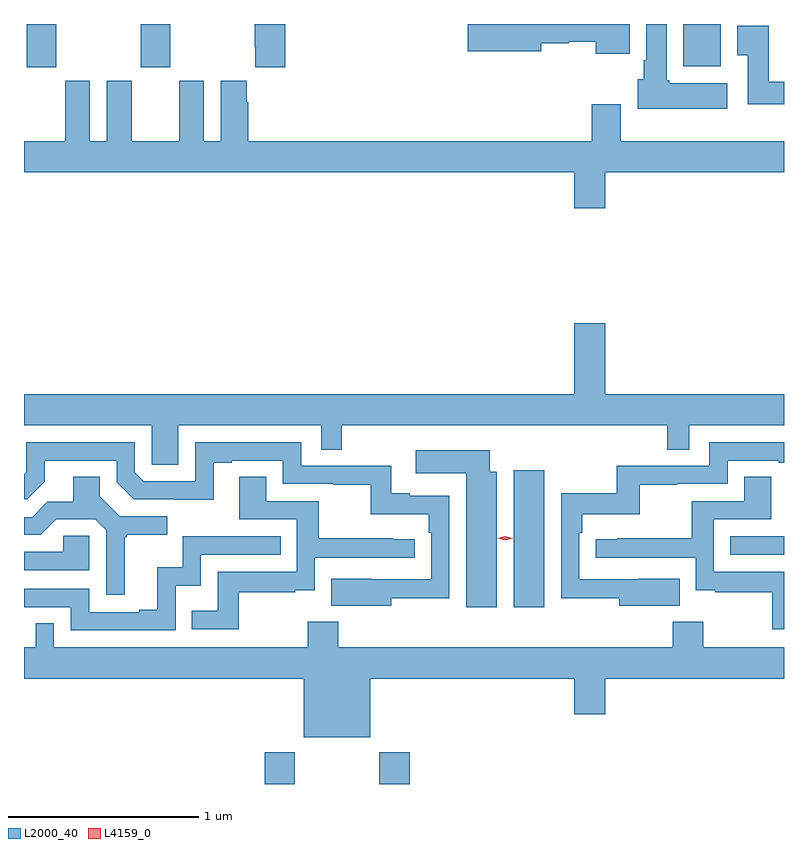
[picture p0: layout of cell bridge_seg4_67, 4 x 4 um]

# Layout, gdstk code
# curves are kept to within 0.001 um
import gdstk
lib = gdstk.Library(unit=1e-6, precision=1e-09)
def R(c, l, rs):  # rectangles x0, y0, x1, y1
    for r in rs: c.add(gdstk.rectangle(r[:2], r[2:], *l))
def P(c, l, *ps):  # polygons
    for p in ps: c.add(gdstk.Polygon(p, *l))
L2000_40 = (2000, 40)
L4159_0 = (4159, 0)

bridge_seg4_67 = lib.new_cell('bridge_seg4_67')
R(bridge_seg4_67, L2000_40, [(834.707,781.613,834.867,781.78), (835.312,781.613,835.472,781.78), (836.018,782.544,836.179,783.265), (837.157,782.82,837.441,782.916), (833.455,785.385,833.61,785.613), (834.055,785.385,834.21,785.613), (836.912,785.39,837.109,785.613)])
P(bridge_seg4_67, L2000_40, [(836.629,785.613),(835.925,785.613),(835.925,785.612),(835.776,785.612),(835.776,785.47),(836.164,785.47),(836.164,785.512),(836.307,785.512),(836.307,785.52),(836.45,785.52),(836.45,785.456),(836.629,785.456)],
  [(834.815,785.613),(834.655,785.613),(834.655,785.497),(834.659,785.497),(834.659,785.385),(834.815,785.385)],
  [(837.142,785.302),(836.838,785.302),(836.838,785.316),(836.824,785.316),(836.824,785.613),(836.717,785.613),(836.717,785.422),(836.702,785.422),(836.702,785.322),(836.672,785.322),(836.672,785.168),(837.142,785.168)],
  [(837.441,785.308),(837.361,785.308),(837.361,785.605),(837.194,785.605),(837.194,785.449),(837.251,785.449),(837.251,785.19),(837.441,785.19)],
  [(836.5,784.832),(837.441,784.832),(837.441,784.996),(836.581,784.996),(836.581,785.191),(836.429,785.191),(836.429,784.996),(834.62,784.996),(834.62,785.201),(834.613,785.201),(834.613,785.314),(834.476,785.314),(834.476,784.996),(834.388,784.996),(834.388,785.314),(834.257,785.314),(834.257,784.996),(834.007,784.996),(834.007,785.314),(833.876,785.314),(833.876,784.996),(833.788,784.996),(833.788,785.314),(833.657,785.314),(833.657,784.996),(833.441,784.996),(833.441,784.832),(836.336,784.832),(836.336,784.644),(836.5,784.644)],
  [(834.253,783.5),(835.005,783.5),(835.005,783.373),(835.114,783.373),(835.114,783.5),(836.827,783.5),(836.827,783.373),(836.943,783.373),(836.943,783.5),(837.441,783.5),(837.441,783.664),(836.5,783.664),(836.5,784.039),(836.336,784.039),(836.336,783.664),(833.441,783.664),(833.441,783.5),(834.114,783.5),(834.114,783.292),(834.253,783.292)],
  [(835.375,782.59),(835.68,782.59),(835.68,783.129),(835.471,783.129),(835.471,783.142),(835.374,783.142),(835.374,783.288),(834.9,783.288),(834.9,783.411),(834.342,783.411),(834.342,783.207),(834.072,783.207),(834.024,783.255),(834.024,783.411),(833.454,783.411),(833.454,783.255),(833.441,783.242),(833.441,783.111),(833.457,783.111),(833.551,783.205),(833.551,783.315),(833.928,783.315),(833.928,783.201),(834.018,783.111),(834.439,783.11),(834.439,783.303),(834.535,783.303),(834.535,783.315),(834.804,783.315),(834.804,783.192),(835.069,783.192),(835.069,783.187),(835.266,783.187),(835.266,783.032),(835.571,783.032),(835.571,782.936),(835.584,782.936),(835.584,782.691),(835.057,782.692),(835.057,782.552),(835.375,782.552)],
  [(836.891,782.692),(836.677,782.692),(836.677,782.691),(836.364,782.691),(836.364,782.936),(836.378,782.936),(836.378,783.032),(836.683,783.032),(836.683,783.187),(836.879,783.187),(836.879,783.192),(837.144,783.192),(837.144,783.315),(837.413,783.315),(837.413,783.303),(837.441,783.303),(837.441,783.411),(837.048,783.411),(837.048,783.288),(836.562,783.288),(836.562,783.142),(836.268,783.142),(836.268,782.59),(836.573,782.59),(836.573,782.552),(836.891,782.552)],
  [(835.93,783.256),(835.891,783.256),(835.891,783.37),(835.503,783.37),(835.503,783.248),(835.769,783.248),(835.769,782.544),(835.93,782.544)],
  [(833.971,782.913),(833.983,782.913),(833.983,782.924),(834.196,782.924),(834.196,783.021),(833.946,783.021),(833.839,783.128),(833.839,783.23),(833.699,783.23),(833.699,783.098),(833.564,783.098),(833.484,783.018),(833.441,783.018),(833.441,782.925),(833.53,782.925),(833.611,783.006),(833.817,783.006),(833.874,782.949),(833.874,782.61),(833.971,782.61)],
  [(834.571,782.622),(834.869,782.622),(834.869,782.633),(834.972,782.633),(834.972,782.805),(835.498,782.805),(835.498,782.901),(835.385,782.901),(835.385,782.906),(834.992,782.906),(834.992,783.102),(834.715,783.102),(834.715,783.23),(834.575,783.23),(834.575,783.006),(834.876,783.006),(834.876,782.73),(834.46,782.73),(834.46,782.524),(834.325,782.524),(834.325,782.427),(834.571,782.427)],
  [(837.441,782.73),(837.072,782.73),(837.072,783.006),(837.373,783.006),(837.373,783.23),(837.233,783.23),(837.233,783.102),(836.956,783.102),(836.956,782.906),(836.563,782.906),(836.563,782.901),(836.451,782.901),(836.451,782.805),(836.976,782.805),(836.976,782.633),(837.079,782.633),(837.079,782.622),(837.378,782.622),(837.378,782.427),(837.441,782.427)],
  [(833.784,782.919),(833.647,782.919),(833.647,782.835),(833.441,782.835),(833.441,782.739),(833.784,782.739)],
  [(834.24,782.657),(834.372,782.657),(834.372,782.82),(834.791,782.82),(834.791,782.916),(834.276,782.916),(834.276,782.755),(834.143,782.755),(834.143,782.53),(834.047,782.53),(834.047,782.517),(833.784,782.517),(833.784,782.64),(833.441,782.64),(833.441,782.544),(833.688,782.544),(833.688,782.421),(834.24,782.421)],
  [(835.264,782.168),(836.336,782.168),(836.336,781.98),(836.5,781.98),(836.5,782.168),(837.441,782.168),(837.441,782.332),(837.015,782.332),(837.015,782.467),(836.855,782.467),(836.855,782.332),(835.094,782.332),(835.094,782.467),(834.934,782.467),(834.934,782.332),(833.598,782.332),(833.598,782.459),(833.502,782.459),(833.502,782.332),(833.441,782.332),(833.441,782.168),(834.914,782.168),(834.914,781.859),(835.264,781.859)])
P(bridge_seg4_67, L4159_0, [(835.974,782.897),(835.934,782.907),(835.934,782.907),(835.934,782.907),(835.974,782.917),(836.014,782.907),(836.014,782.907),(836.014,782.907)])

lib.write_gds('bridge_seg4_67.gds')
